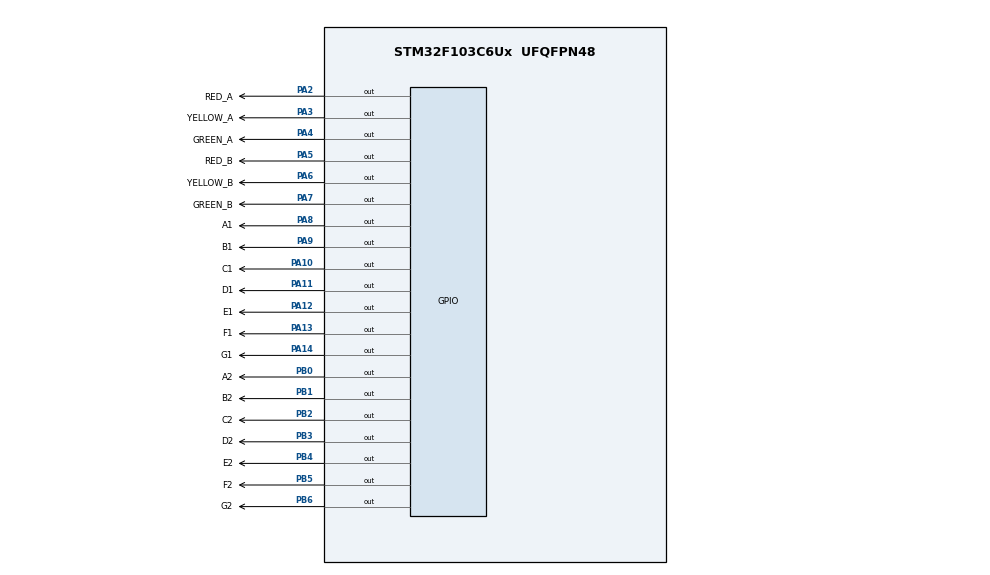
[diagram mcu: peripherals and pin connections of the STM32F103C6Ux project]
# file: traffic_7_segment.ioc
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Mcu.Family=STM32F1
Mcu.Name=STM32F103C6Ux
Mcu.Package=UFQFPN48
NVIC.PriorityGroup=NVIC_PRIORITYGROUP_4
PA10.GPIO_Label=C1
PA10.Signal=GPIO_Output
PA11.GPIO_Label=D1
PA11.Signal=GPIO_Output
PA12.GPIO_Label=E1
PA12.Signal=GPIO_Output
PA13.GPIO_Label=F1
PA13.Signal=GPIO_Output
PA14.GPIO_Label=G1
PA14.Signal=GPIO_Output
PA2.GPIO_Label=RED_A
PA2.Signal=GPIO_Output
PA3.GPIO_Label=YELLOW_A
PA3.Signal=GPIO_Output
PA4.GPIO_Label=GREEN_A
PA4.Signal=GPIO_Output
PA5.GPIO_Label=RED_B
PA5.Signal=GPIO_Output
PA6.GPIO_Label=YELLOW_B
PA6.Signal=GPIO_Output
PA7.GPIO_Label=GREEN_B
PA7.Signal=GPIO_Output
PA8.GPIO_Label=A1
PA8.Signal=GPIO_Output
PA9.GPIO_Label=B1
PA9.Signal=GPIO_Output
PB0.GPIO_Label=A2
PB0.Signal=GPIO_Output
PB1.GPIO_Label=B2
PB1.Signal=GPIO_Output
PB2.GPIO_Label=C2
PB2.Signal=GPIO_Output
PB3.GPIO_Label=D2
PB3.Signal=GPIO_Output
PB4.GPIO_Label=E2
PB4.Signal=GPIO_Output
PB5.GPIO_Label=F2
PB5.Signal=GPIO_Output
PB6.GPIO_Label=G2
PB6.Signal=GPIO_Output
ProjectManager.HeapSize=0x200
ProjectManager.StackSize=0x400
ProjectManager.TargetToolchain=STM32CubeIDE
RCC.APB1Freq_Value=8000000
RCC.APB2Freq_Value=8000000
VP_SYS_VS_ND.Mode=No_Debug
board=custom

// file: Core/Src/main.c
/* USER CODE BEGIN Header */
/**
  ******************************************************************************
  * @file           : main.c
  * @brief          : Main program body
  ******************************************************************************
  * @attention
  *
  * <h2><center>&copy; Copyright (c) 2025 STMicroelectronics.
  * All rights reserved.</center></h2>
  *
  * This software component is licensed by ST under BSD 3-Clause license,
  * the "License"; You may not use this file except in compliance with the
  * License. You may obtain a copy of the License at:
  *                        opensource.org/licenses/BSD-3-Clause
  *
  ******************************************************************************
  */
/* USER CODE END Header */
#include "main.h"

void SystemClock_Config(void);
static void MX_GPIO_Init(void);

uint8_t segmentBinary[10] = {
	0b00111111, // 0
	0b00000110, // 1
	0b01011011, // 2
	0b01001111, // 3
	0b01100110, // 4
	0b01101101, // 5
	0b01111101, // 6
	0b00000111, // 7
	0b01111111, // 8
	0b01101111  // 9
};
void display7SEG1(int num) {
	uint8_t display = segmentBinary[num];

	HAL_GPIO_WritePin(A1_GPIO_Port, A1_Pin, (display & 0b00000001) ? RESET : SET);
	HAL_GPIO_WritePin(B1_GPIO_Port, B1_Pin, (display & 0b00000010) ? RESET : SET);
	HAL_GPIO_WritePin(C1_GPIO_Port, C1_Pin, (display & 0b00000100) ? RESET : SET);
	HAL_GPIO_WritePin(D1_GPIO_Port, D1_Pin, (display & 0b00001000) ? RESET : SET);
	HAL_GPIO_WritePin(E1_GPIO_Port, E1_Pin, (display & 0b00010000) ? RESET : SET);
	HAL_GPIO_WritePin(F1_GPIO_Port, F1_Pin, (display & 0b00100000) ? RESET : SET);
	HAL_GPIO_WritePin(G1_GPIO_Port, G1_Pin, (display & 0b01000000) ? RESET : SET);
}

void display7SEG2(int num) {
	uint8_t display = segmentBinary[num];

	HAL_GPIO_WritePin(A2_GPIO_Port, A2_Pin, (display & 0b00000001) ? RESET : SET);
	HAL_GPIO_WritePin(B2_GPIO_Port, B2_Pin, (display & 0b00000010) ? RESET : SET);
	HAL_GPIO_WritePin(C2_GPIO_Port, C2_Pin, (display & 0b00000100) ? RESET : SET);
	HAL_GPIO_WritePin(D2_GPIO_Port, D2_Pin, (display & 0b00001000) ? RESET : SET);
	HAL_GPIO_WritePin(E2_GPIO_Port, E2_Pin, (display & 0b00010000) ? RESET : SET);
	HAL_GPIO_WritePin(F2_GPIO_Port, F2_Pin, (display & 0b00100000) ? RESET : SET);
	HAL_GPIO_WritePin(G2_GPIO_Port, G2_Pin, (display & 0b01000000) ? RESET : SET);
}
void TrafficLightState(GPIO_PinState redA, GPIO_PinState yellowA, GPIO_PinState greenA,
					   GPIO_PinState redB, GPIO_PinState yellowB, GPIO_PinState greenB) {
	HAL_GPIO_WritePin(RED_A_GPIO_Port, RED_A_Pin, redA);
	HAL_GPIO_WritePin(YELLOW_A_GPIO_Port, YELLOW_A_Pin, yellowA);
	HAL_GPIO_WritePin(GREEN_A_GPIO_Port, GREEN_A_Pin, greenA);
	HAL_GPIO_WritePin(RED_B_GPIO_Port, RED_B_Pin, redB);
	HAL_GPIO_WritePin(YELLOW_B_GPIO_Port, YELLOW_B_Pin, yellowB);
	HAL_GPIO_WritePin(GREEN_B_GPIO_Port, GREEN_B_Pin, greenB);
}
int main(void)
{

  /* MCU Configuration--------------------------------------------------------*/

  /* Reset of all peripherals, Initializes the Flash interface and the Systick. */
  HAL_Init();

  /* Configure the system clock */
  SystemClock_Config();

  /* Initialize all configured peripherals */
  MX_GPIO_Init();

  /* Infinite loop */
  /* USER CODE BEGIN WHILE */
  static int timer = 0;
  static int state = 0;
  while (1)
  {
	  switch (state) {
		  case 0:
			  TrafficLightState(SET, RESET, RESET, RESET, RESET, SET);
			  if (timer == 0) timer = 3;
			  display7SEG1(timer + 2);
			  display7SEG2(timer);
			  break;
		  case 1:
			  TrafficLightState(SET, RESET, RESET, RESET, SET, RESET);
			  if (timer == 0) timer = 2;
			  display7SEG1(timer);
			  display7SEG2(timer);
			  break;
		  case 2:
			  TrafficLightState(RESET, RESET, SET, SET, RESET, RESET);
			  if (timer == 0) timer = 3;
			  display7SEG1(timer);
			  display7SEG2(timer + 2);
			  break;
		  case 3:
			  TrafficLightState(RESET, SET, RESET, SET, RESET, RESET);
			  if (timer == 0) timer = 2;
			  display7SEG1(timer);
			  display7SEG2(timer);
			  break;
	  }
	  timer--;
	  if (timer <= 0) {
		  state++;
		  if (state > 3) state = 0;
	  }
	  HAL_Delay(1000);
    /* USER CODE END WHILE */

  }
}

void SystemClock_Config(void)
{
  RCC_OscInitTypeDef RCC_OscInitStruct = {0};
  RCC_ClkInitTypeDef RCC_ClkInitStruct = {0};

  /** Initializes the RCC Oscillators according to the specified parameters
  * in the RCC_OscInitTypeDef structure.
  */
  RCC_OscInitStruct.OscillatorType = RCC_OSCILLATORTYPE_HSI;
  RCC_OscInitStruct.HSIState = RCC_HSI_ON;
  RCC_OscInitStruct.HSICalibrationValue = RCC_HSICALIBRATION_DEFAULT;
  RCC_OscInitStruct.PLL.PLLState = RCC_PLL_NONE;
  if (HAL_RCC_OscConfig(&RCC_OscInitStruct) != HAL_OK)
  {
    Error_Handler();
  }
  /** Initializes the CPU, AHB and APB buses clocks
  */
  RCC_ClkInitStruct.ClockType = RCC_CLOCKTYPE_HCLK|RCC_CLOCKTYPE_SYSCLK
                              |RCC_CLOCKTYPE_PCLK1|RCC_CLOCKTYPE_PCLK2;
  RCC_ClkInitStruct.SYSCLKSource = RCC_SYSCLKSOURCE_HSI;
  RCC_ClkInitStruct.AHBCLKDivider = RCC_SYSCLK_DIV1;
  RCC_ClkInitStruct.APB1CLKDivider = RCC_HCLK_DIV1;
  RCC_ClkInitStruct.APB2CLKDivider = RCC_HCLK_DIV1;

  if (HAL_RCC_ClockConfig(&RCC_ClkInitStruct, FLASH_LATENCY_0) != HAL_OK)
  {
    Error_Handler();
  }
}

static void MX_GPIO_Init(void)
{
  GPIO_InitTypeDef GPIO_InitStruct = {0};

  /* GPIO Ports Clock Enable */
  __HAL_RCC_GPIOA_CLK_ENABLE();
  __HAL_RCC_GPIOB_CLK_ENABLE();

  /*Configure GPIO pin Output Level */
  HAL_GPIO_WritePin(GPIOA, RED_A_Pin|YELLOW_A_Pin|GREEN_A_Pin|RED_B_Pin
                          |YELLOW_B_Pin|GREEN_B_Pin|A1_Pin|B1_Pin
                          |C1_Pin|D1_Pin|E1_Pin|F1_Pin
                          |G1_Pin, GPIO_PIN_RESET);

  /*Configure GPIO pin Output Level */
  HAL_GPIO_WritePin(GPIOB, A2_Pin|B2_Pin|C2_Pin|D2_Pin
                          |E2_Pin|F2_Pin|G2_Pin, GPIO_PIN_RESET);

  /*Configure GPIO pins : RED_A_Pin YELLOW_A_Pin GREEN_A_Pin RED_B_Pin
                           YELLOW_B_Pin GREEN_B_Pin A1_Pin B1_Pin
                           C1_Pin D1_Pin E1_Pin F1_Pin
                           G1_Pin */
  GPIO_InitStruct.Pin = RED_A_Pin|YELLOW_A_Pin|GREEN_A_Pin|RED_B_Pin
                          |YELLOW_B_Pin|GREEN_B_Pin|A1_Pin|B1_Pin
                          |C1_Pin|D1_Pin|E1_Pin|F1_Pin
                          |G1_Pin;
  GPIO_InitStruct.Mode = GPIO_MODE_OUTPUT_PP;
  GPIO_InitStruct.Pull = GPIO_NOPULL;
  GPIO_InitStruct.Speed = GPIO_SPEED_FREQ_LOW;
  HAL_GPIO_Init(GPIOA, &GPIO_InitStruct);

  /*Configure GPIO pins : A2_Pin B2_Pin C2_Pin D2_Pin
                           E2_Pin F2_Pin G2_Pin */
  GPIO_InitStruct.Pin = A2_Pin|B2_Pin|C2_Pin|D2_Pin
                          |E2_Pin|F2_Pin|G2_Pin;
  GPIO_InitStruct.Mode = GPIO_MODE_OUTPUT_PP;
  GPIO_InitStruct.Pull = GPIO_NOPULL;
  GPIO_InitStruct.Speed = GPIO_SPEED_FREQ_LOW;
  HAL_GPIO_Init(GPIOB, &GPIO_InitStruct);

}

void Error_Handler(void)
{
  __disable_irq();
  while (1)
  {
  }
}

/************************ (C) COPYRIGHT STMicroelectronics *****END OF FILE****/
